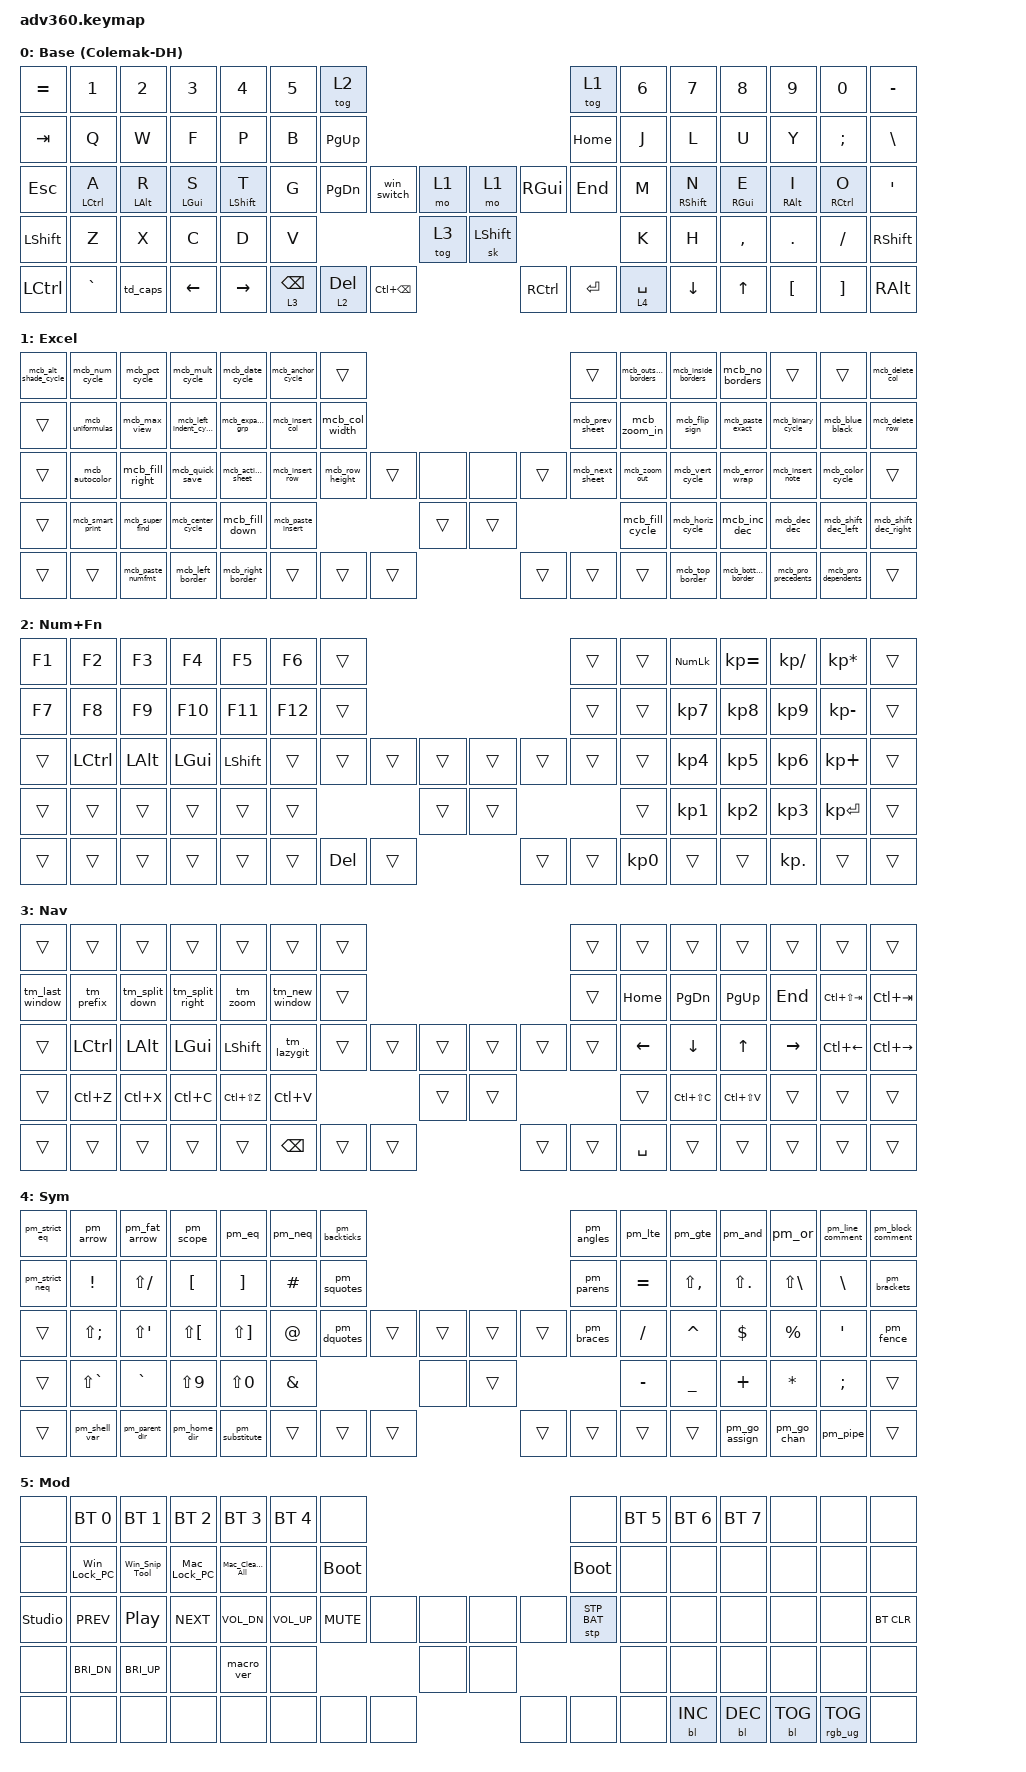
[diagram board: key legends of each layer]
/*
* Euxener Colemak-DH base keyboard layout
* Version 3.0
*/

#include <behaviors.dtsi>
#include <dt-bindings/zmk/keys.h>
#include <dt-bindings/zmk/bt.h>
#include <dt-bindings/zmk/rgb.h>
#include <dt-bindings/zmk/stp.h>
#include <dt-bindings/zmk/backlight.h>
#include <dt-bindings/zmk/pointing.h>

// Key position groups for bilateral mods or home row mods
#define KEYS_L 0 1 2 3 4 5 6 14 15 16 17 18 19 20 28 29 30 31 32 33 34 46 47 48 49 50 51 60 61 62 63 64
#define KEYS_R 7 8 9 10 11 12 13 21 22 23 24 25 26 27 39 40 41 42 43 44 45 54 55 56 57 58 59 71 72 73 74 75
#define THUMBS 35 36 37 38 52 53 65 66 67 68 69 70

/ {
    behaviors {

#include "macros.dtsi"
#include "version.dtsi"

hml: homerow_mods_left {
    compatible = "zmk,behavior-hold-tap";
    #binding-cells = <2>;
    tapping-term-ms = <200>;
    quick-tap-ms = <175>;
    require-prior-idle-ms = <100>;
    flavor = "balanced";
    bindings = <&kp>, <&kp>;
    hold-trigger-key-positions = <KEYS_R THUMBS>;
    hold-trigger-on-release;
};

hmr: homerow_mods_right {
    compatible = "zmk,behavior-hold-tap";
    #binding-cells = <2>;
    tapping-term-ms = <200>;
    quick-tap-ms = <175>;
    require-prior-idle-ms = <100>;
    flavor = "balanced";
    bindings = <&kp>, <&kp>;
    hold-trigger-key-positions = <KEYS_L THUMBS>;
    hold-trigger-on-release;
};

// Thumb layer-taps: tap the key, hold the layer. No positional trigger, the layers
// have keys on both hands. prior-idle: a thumb pressed within 100 ms of the last
// key press is a tap, so a thumb rolled into the next letter rarely turns into its
// layer (one held across the whole next letter still can: balanced flavor)
// Bspc (Nav), Del (Num+Fn): quick-tap, tap then hold within 300 ms repeats the key
// (Nav right after a Backspace: wait a beat before holding)
lt_th: layer_tap_thumb {
    compatible = "zmk,behavior-hold-tap";
    #binding-cells = <2>;
    tapping-term-ms = <200>;
    quick-tap-ms = <300>;
    require-prior-idle-ms = <100>;
    flavor = "balanced";
    bindings = <&mo>, <&kp>;
};

// Space (Sym): no quick-tap, so "foo (" (Space, then Space held for the paren right
// away) reaches Sym instead of repeating spaces. Its own tap counts as the last key
// press for prior-idle, timed from when it went down: a second press within 100 ms of
// the first is still a tap, too quick to be a deliberate hold
lt_sp: layer_tap_space {
    compatible = "zmk,behavior-hold-tap";
    #binding-cells = <2>;
    tapping-term-ms = <200>;
    quick-tap-ms = <0>;
    require-prior-idle-ms = <100>;
    flavor = "balanced";
    bindings = <&mo>, <&kp>;
};

td_caps: tap_dance_caps {
    compatible = "zmk,behavior-tap-dance";
    #binding-cells = <0>;
    tapping-term-ms = <200>;
    bindings = <&caps_word>, <&kp CAPS>;
};
    };

    combos {
        compatible = "zmk,combos";
        // (t)+(g): one finger presses both, so typing never chords them; : without a layer
        combo_colon {
            timeout-ms = <40>;
            require-prior-idle-ms = <150>;
            key-positions = <32 33>;
            bindings = <&kp LS(SEMI)>;
            layers = <0>;
        };
    };

    // Sym then Nav held (Space, then Bspc): Mod. Space first: on Nav, Space is a plain
    // Space, so Bspc then Space never lands in Mod. The top layer: the highest active
    // layer wins a key, and Sym, held to get here, binds nearly every key
    conditional_layers {
        compatible = "zmk,conditional-layers";
        mod_layer {
            if-layers = <3 4>;
            then-layer = <5>;
        };
    };

    // Layers: 0 Base, 1 Excel, 2 Num+Fn, 3 Nav, 4 Sym, 5 Mod. A key is the highest
    // active layer's that binds it. Toggles sit low (Excel 1, Num 2) so Nav and Sym held
    // over either still work; Excel, held or toggled, under a toggled Num gets Num's
    // keys wherever Num binds one: toggle Num off first. Num toggled: Space types 0, Sym
    // waits until Num is off. Nav also locks (left middle thumb): Space stays Space,
    // and Num held shows Nav's keys where Nav binds one: unlock for symbols or numbers.
    // Lock from Base: with Nav held the lock key flips Nav off (one bit per layer), and
    // Sym binds nothing there, or a tap would add Nav to Sym and open Mod. Unlock Nav and
    // toggle Num off before the window switcher: its extra Tabs land on Nav's last-window
    // key, or Num's F7. Inside tmux the
    // word keys (Ctrl+←/→) move between panes unless the pane is at that edge
    keymap {
        compatible = "zmk,keymap";

        default_layer {
            display-name = "Base (Colemak-DH)";
            bindings = <
                &kp EQUAL &kp N1       &kp N2      &kp N3      &kp N4       &kp N5 &tog 2                                                                               &tog 1   &kp N6 &kp N7       &kp N8      &kp N9      &kp N0       &kp MINUS
                &kp TAB   &kp Q        &kp W       &kp F       &kp P        &kp B  &kp PG_UP                                                                            &kp HOME &kp J  &kp L        &kp U       &kp Y       &kp SEMI     &kp BSLH
                &kp ESC   &hml LCTRL A &hml LALT R &hml LGUI S &hml LSHFT T &kp G  &kp PG_DN                &win_switch &mo 1        &mo 1 &kp RGUI                     &kp END  &kp M  &hmr RSHFT N &hmr RGUI E &hmr RALT I &hmr RCTRL O &kp SQT
                &kp LSHFT &kp Z        &kp X       &kp C       &kp D        &kp V                                       &tog 3       &sk LSHFT                                   &kp K  &kp H        &kp COMMA   &kp DOT     &kp FSLH     &kp RSHFT
                &kp LCTRL &kp GRAVE    &td_caps    &kp LEFT    &kp RIGHT                     &lt_th 3 BSPC &lt_th 2 DEL &kp LC(BSPC) &kp RCTRL &kp ENTER &lt_sp 4 SPACE                 &kp DOWN     &kp UP      &kp LBKT    &kp RBKT     &kp RALT
            >;
        };

        excel {
            display-name = "Excel";
            bindings = <
                &mcb_alt_shade_cycle &mcb_num_cycle   &mcb_pct_cycle    &mcb_mult_cycle        &mcb_date_cycle     &mcb_anchor_cycle &trans                                                    &trans          &mcb_outside_borders &mcb_inside_borders &mcb_no_borders    &trans              &trans              &mcb_delete_col
                &trans               &mcb_uniformulas &mcb_max_view     &mcb_left_indent_cycle &mcb_expand_grp     &mcb_insert_col   &mcb_col_width                                            &mcb_prev_sheet &mcb_zoom_in         &mcb_flip_sign      &mcb_paste_exact   &mcb_binary_cycle   &mcb_blue_black     &mcb_delete_row
                &trans               &mcb_autocolor   &mcb_fill_right   &mcb_quick_save        &mcb_activate_sheet &mcb_insert_row   &mcb_row_height        &trans &none &none &trans          &mcb_next_sheet &mcb_zoom_out        &mcb_vert_cycle     &mcb_error_wrap    &mcb_insert_note    &mcb_color_cycle    &trans
                &trans               &mcb_smart_print &mcb_super_find   &mcb_center_cycle      &mcb_fill_down      &mcb_paste_insert                               &trans &trans                               &mcb_fill_cycle      &mcb_horiz_cycle    &mcb_inc_dec       &mcb_dec_dec        &mcb_shift_dec_left &mcb_shift_dec_right
                &trans               &trans           &mcb_paste_numfmt &mcb_left_border       &mcb_right_border                                     &trans &trans &trans &trans &trans &trans                                      &mcb_top_border     &mcb_bottom_border &mcb_pro_precedents &mcb_pro_dependents &trans
            >;
        };

        num {
            display-name = "Num+Fn";
            bindings = <
                &kp F1    &kp F2       &kp F3      &kp F4      &kp F5       &kp F6  &trans                                               &trans &trans &kp KP_NUM &kp KP_EQUAL &kp KP_DIVIDE &kp KP_MULTIPLY &trans
                &kp F7    &kp F8       &kp F9      &kp F10     &kp F11      &kp F12 &trans                                               &trans &trans &kp KP_N7  &kp KP_N8    &kp KP_N9     &kp KP_MINUS    &trans
                &trans    &kp LCTRL    &kp LALT    &kp LGUI    &kp LSHFT    &trans  &trans        &trans &trans &trans &trans            &trans &trans &kp KP_N4  &kp KP_N5    &kp KP_N6     &kp KP_PLUS     &trans
                &trans    &trans       &trans      &trans      &trans       &trans                       &trans &trans                          &trans &kp KP_N1  &kp KP_N2    &kp KP_N3     &kp KP_ENTER    &trans
                &trans    &trans       &trans      &trans      &trans                      &trans &kp DEL &trans &trans &trans &kp KP_N0               &trans     &trans       &kp KP_DOT    &trans          &trans
            >;
        };

        nav {
            display-name = "Nav";
            bindings = <
                &trans          &trans     &trans         &trans          &trans        &trans         &trans                                                &trans &trans   &trans        &trans        &trans    &trans          &trans
                &tm_last_window &tm_prefix &tm_split_down &tm_split_right &tm_zoom      &tm_new_window &trans                                                &trans &kp HOME &kp PG_DN     &kp PG_UP     &kp END   &kp LC(LS(TAB)) &kp LC(TAB)
                &trans          &kp LCTRL  &kp LALT       &kp LGUI        &kp LSHFT     &tm_lazygit    &trans          &trans &trans &trans &trans           &trans &kp LEFT &kp DOWN      &kp UP        &kp RIGHT &kp LC(LEFT)    &kp LC(RIGHT)
                &trans          &kp LC(Z)  &kp LC(X)      &kp LC(C)       &kp LC(LS(Z)) &kp LC(V)                             &trans &trans                         &trans   &kp LC(LS(C)) &kp LC(LS(V)) &trans    &trans          &trans
                &trans          &trans     &trans         &trans          &trans                              &kp BSPC &trans &trans &trans &trans &kp SPACE                 &trans        &trans        &trans    &trans          &trans
            >;
        };

        symbol {
            display-name = "Sym";
            bindings = <
                &pm_strict_eq  &pm_arrow     &pm_fat_arrow  &pm_scope    &pm_eq         &pm_neq  &pm_backticks                                           &pm_angles &pm_lte   &pm_gte       &pm_and       &pm_or       &pm_line_comment &pm_block_comment
                &pm_strict_neq &kp EXCL      &kp LS(FSLH)   &kp LBKT     &kp RBKT       &kp HASH &pm_squotes                                             &pm_parens &kp EQUAL &kp LS(COMMA) &kp LS(DOT)   &kp LS(BSLH) &kp BSLH         &pm_brackets
                &trans         &kp LS(SEMI)  &kp LS(SQT)    &kp LS(LBKT) &kp LS(RBKT)   &kp AT   &pm_dquotes          &trans &trans &trans &trans        &pm_braces &kp FSLH  &kp CARET     &kp DLLR      &kp PRCNT    &kp SQT          &pm_fence
                &trans         &kp LS(GRAVE) &kp GRAVE      &kp LS(N9)   &kp LS(N0)     &kp AMPS                             &none &trans                           &kp MINUS &kp UNDER     &kp PLUS      &kp ASTRK    &kp SEMI         &trans
                &trans         &pm_shell_var &pm_parent_dir &pm_home_dir &pm_substitute                        &trans &trans &trans &trans &trans &trans                      &trans        &pm_go_assign &pm_go_chan  &pm_pipe         &trans
            >;
        };

        mod {
            display-name = "Mod";
            bindings = <
                &none          &bt BT_SEL 0 &bt BT_SEL 1   &bt BT_SEL 2 &bt BT_SEL 3       &bt BT_SEL 4 &none                                           &none        &bt BT_SEL 5 &bt BT_SEL 6 &bt BT_SEL 7 &none      &none           &none
                &none          &Win_Lock_PC &Win_Snip_Tool &Mac_Lock_PC &Mac_Cleanshot_All &none        &bootloader                                     &bootloader  &none        &none        &none        &none      &none           &none
                &studio_unlock &kp C_PREV   &kp C_PP       &kp C_NEXT   &kp C_VOL_DN       &kp C_VOL_UP &kp C_MUTE        &none &none &none &none       &stp STP_BAT &none        &none        &none        &none      &none           &bt BT_CLR
                &none          &kp C_BRI_DN &kp C_BRI_UP   &none        &macro_ver         &none                                &none &none                          &none        &none        &none        &none      &none           &none
                &none          &none        &none          &none        &none                                       &none &none &none &none &none &none                           &bl BL_INC   &bl BL_DEC   &bl BL_TOG &rgb_ug RGB_TOG &none
            >;
        };

    };
};
